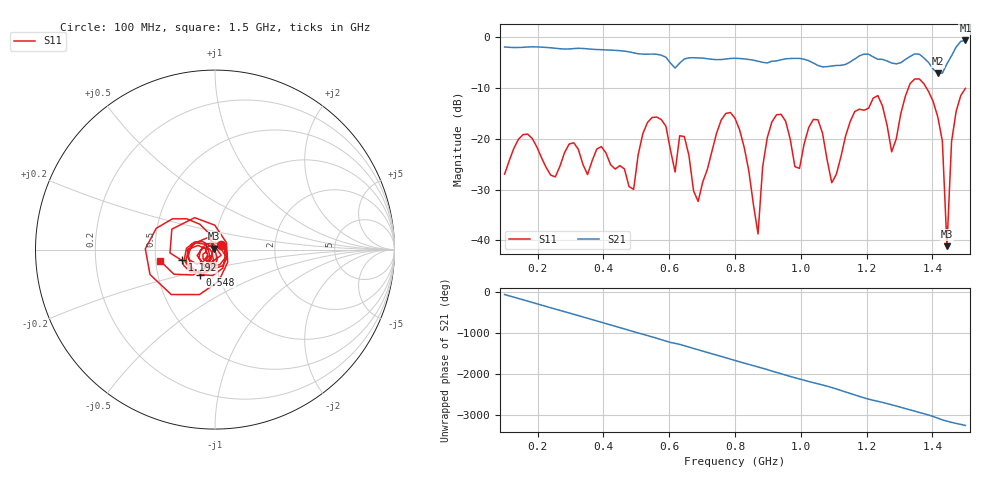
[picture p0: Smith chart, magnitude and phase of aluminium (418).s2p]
! NanoVNA-App
! Date: 2025-09-25 14:58:32
! Start: 100MHz Stop: 1,5GHz Points: 101
! S-Parameter data: F S11 S21 S12 S22
# Hz S RI R 50
!  Frequency  S11_Real  S11_Imag  S21_Real  S21_Imag  S12_Real  S12_Imag  S22_Real  S22_Imag
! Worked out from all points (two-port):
!   101 points, 100 MHz to 1.5 GHz, reference 50 ohm
!   highest |S21| = -0.64 dB at 1.5 GHz (marker M1); lowest = -7.1 dB at 1.416 GHz (marker M2)
!   |S21| within 3 dB of the highest: start of sweep to 579.5 MHz; 1.458 GHz to end of sweep (the widest 2 of 4)
!   lowest |S11| = -41.2 dB at 1.444 GHz (marker M3), VSWR 1.02, Z = 49.3 + j0.491 ohm
!   |S11| at or under -10 dB: start of sweep to 1.327 GHz; 1.382 GHz to end of sweep
!   S12 and S22 are empty: the file has one direction only
!   S11 on the Smith chart (normalised r, x): 100 MHz: 1.07, +0.06; 548 MHz: 0.82, -0.23; 1.192 GHz: 0.69, -0.08; 1.5 GHz: 0.53, -0.07
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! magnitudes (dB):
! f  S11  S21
! 100 MHz  -27.0  -1.9
! 156 MHz  -19.2  -2.0
! 338 MHz  -25.1  -2.2
! 492 MHz  -30.0  -3.1
! 548 MHz  -15.8  -3.3
! 576 MHz  -16.2  -3.5
! 688 MHz  -32.3  -4.1
! 800 MHz  -16.0  -4.1
! 870 MHz  -38.8  -4.7
! 912 MHz  -16.7  -4.7
! 996 MHz  -25.8  -4.2
! 1.038 GHz  -16.2  -5.1
! 1.094 GHz  -28.7  -5.7
! 1.192 GHz  -14.4  -3.3
! 1.234 GHz  -11.5  -4.3
! 1.276 GHz  -22.6  -5.1
! 1.346 GHz  -8.2  -3.3
! 1.416 GHz  -15.7  -7.1
! 1.43 GHz  -20.4  -7.1
! 1.444 GHz  -41.2  -5.2
! 1.458 GHz  -20.5  -3.7
! 1.5 GHz  -10.1  -0.6
